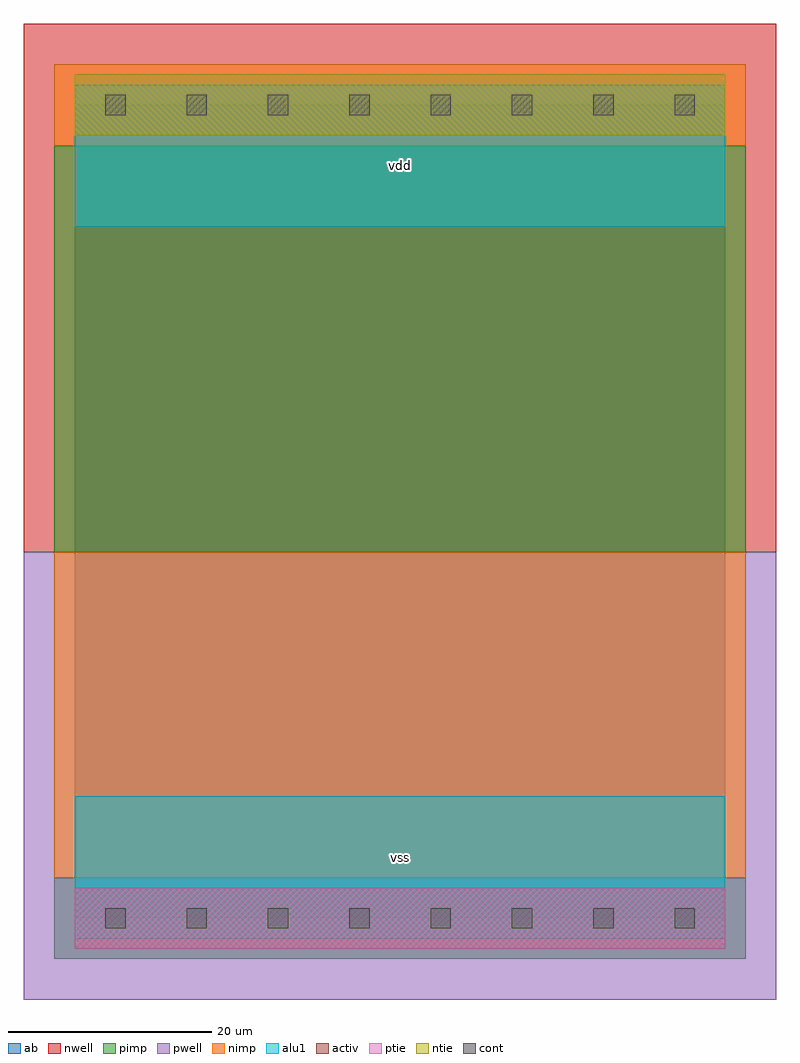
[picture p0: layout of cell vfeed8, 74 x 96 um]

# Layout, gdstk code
import gdstk
lib = gdstk.Library(unit=1e-6, precision=1e-09)
def R(c, l, rs):  # rectangles x0, y0, x1, y1
    for r in rs: c.add(gdstk.rectangle(r[:2], r[2:], *l))
def A(c, l, x, y, w, h, nx, ny, dx, dy):  # array of equal rectangles
    R(c, l, [(x+i*dx, y+j*dy, x+i*dx+w, y+j*dy+h) for i in range(nx) for j in range(ny)])
ntie = (5, 0)
ptie = (6, 0)
cont = (25, 0)
pwell = (41, 0)
nwell = (42, 0)
activ = (43, 0)
pimp = (44, 0)
nimp = (45, 0)
alu1 = (49, 0)
ab = (63, 0)

vfeed8 = lib.new_cell('vfeed8')
R(vfeed8, ntie, [(0,77,64,83)])
R(vfeed8, ptie, [(0,-3,64,3)])
A(vfeed8, cont, 3, -1, 2, 2, 8, 2, 8, 80)
R(vfeed8, pwell, [(-5,-8,69,36)])
R(vfeed8, nwell, [(-5,36,69,88)])
R(vfeed8, activ, [(0,-3,64,3), (0,77,64,83)])
R(vfeed8, pimp, [(-2,-4,66,4), (-2,36,66,76)])
R(vfeed8, nimp, [(-2,4,66,36), (-2,76,66,84)])
R(vfeed8, alu1, [(0,-2,64,12), (0,68,64,82)])
R(vfeed8, ab, [(0,0,64,80)])
vfeed8.add(gdstk.Label('vss', (32,6), layer=49, texttype=0))
vfeed8.add(gdstk.Label('vdd', (32,74), layer=49, texttype=0))

lib.write_gds('vfeed8.gds')
